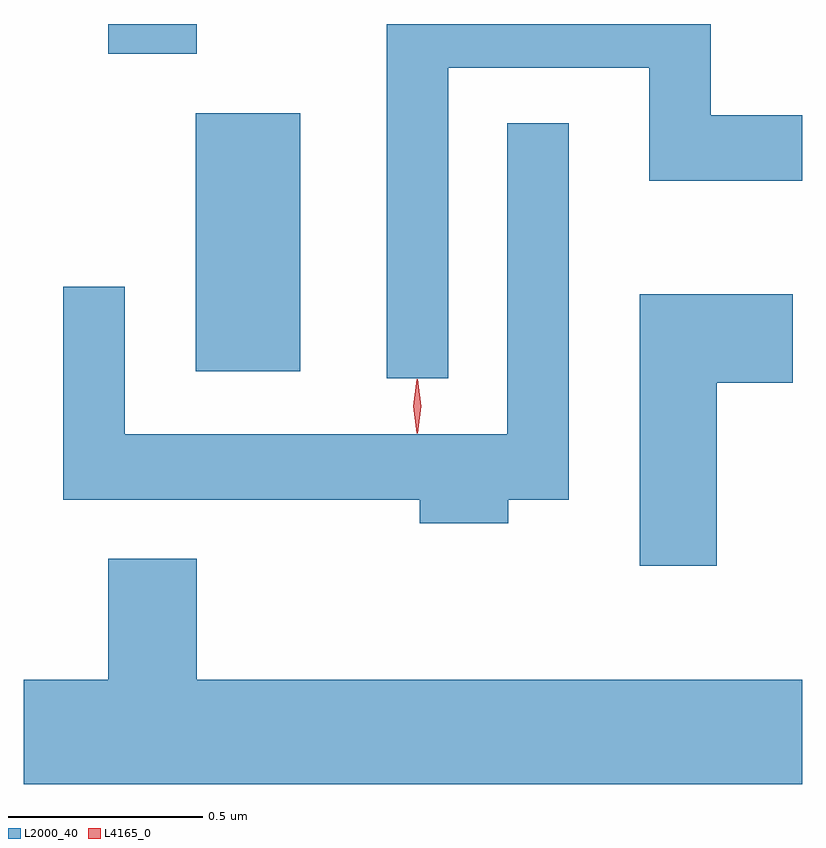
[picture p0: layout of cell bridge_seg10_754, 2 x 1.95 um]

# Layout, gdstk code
import gdstk
lib = gdstk.Library(unit=1e-6, precision=1e-09)
def R(c, l, rs):  # rectangles x0, y0, x1, y1
    for r in rs: c.add(gdstk.rectangle(r[:2], r[2:], *l))
def P(c, l, *ps):  # polygons
    for p in ps: c.add(gdstk.Polygon(p, *l))
L2000_40 = (2000, 40)
L4165_0 = (4165, 0)

bridge_seg10_754 = lib.new_cell('bridge_seg10_754')
R(bridge_seg10_754, L2000_40, [(856.476,2143.836,856.744,2144.499), (856.251,2144.651,856.479,2144.728)])
P(bridge_seg10_754, L2000_40, [(857.124,2144.616),(857.641,2144.616),(857.641,2144.326),(858.034,2144.326),(858.034,2144.494),(857.799,2144.494),(857.799,2144.728),(856.966,2144.728),(856.966,2143.818),(857.124,2143.818)],
  [(857.279,2143.506),(857.434,2143.506),(857.434,2144.473),(857.276,2144.473),(857.276,2143.674),(856.294,2143.674),(856.294,2144.053),(856.136,2144.053),(856.136,2143.506),(857.051,2143.506),(857.051,2143.446),(857.279,2143.446)],
  [(857.814,2143.806),(858.009,2143.806),(858.009,2144.034),(857.616,2144.034),(857.616,2143.336),(857.814,2143.336)],
  [(858.034,2143.044),(856.479,2143.044),(856.479,2143.354),(856.251,2143.354),(856.251,2143.044),(856.034,2143.044),(856.034,2142.776),(858.034,2142.776)])
P(bridge_seg10_754, L4165_0, [(857.044,2143.679),(857.043,2143.68),(857.034,2143.746),(857.043,2143.812),(857.044,2143.813),(857.044,2143.812),(857.054,2143.746),(857.044,2143.68)],
  [(857.044,2143.677),(857.035,2143.746),(857.044,2143.816),(857.045,2143.816),(857.046,2143.816),(857.055,2143.746),(857.046,2143.677),(857.045,2143.677)])

lib.write_gds('bridge_seg10_754.gds')
